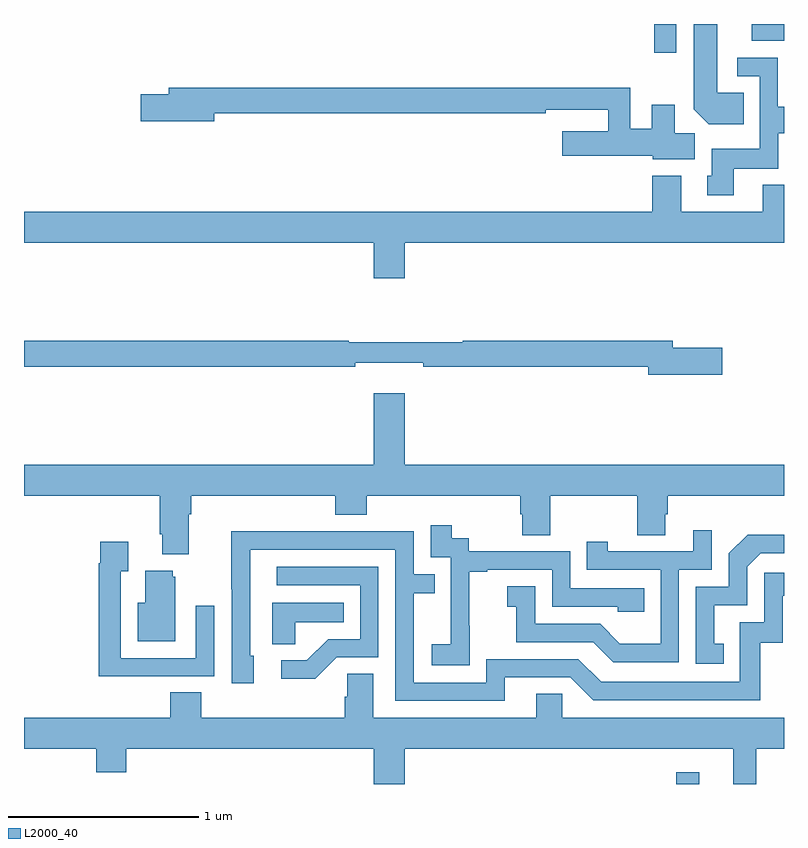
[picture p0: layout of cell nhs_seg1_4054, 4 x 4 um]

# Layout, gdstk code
import gdstk
lib = gdstk.Library(unit=1e-6, precision=1e-09)
def R(c, l, rs):  # rectangles x0, y0, x1, y1
    for r in rs: c.add(gdstk.rectangle(r[:2], r[2:], *l))
def P(c, l, *ps):  # polygons
    for p in ps: c.add(gdstk.Polygon(p, *l))
L2000_40 = (2000, 40)

nhs_seg1_4054 = lib.new_cell('nhs_seg1_4054')
R(nhs_seg1_4054, L2000_40, [(334.434,566.199,334.555,566.26), (334.318,570.048,334.434,570.199), (334.83,570.11,335,570.199)])
P(nhs_seg1_4054, L2000_40, [(334.787,569.836),(334.648,569.836),(334.648,570.199),(334.526,570.199),(334.526,569.75),(334.604,569.672),(334.787,569.672)],
  [(334.735,569.438),(334.971,569.438),(334.971,569.624),(335,569.624),(335,569.764),(334.968,569.764),(334.968,570.021),(334.755,570.021),(334.755,569.925),(334.872,569.925),(334.872,569.542),(334.619,569.542),(334.619,569.4),(334.595,569.4),(334.595,569.298),(334.735,569.298)],
  [(334.531,569.624),(334.426,569.624),(334.426,569.773),(334.304,569.773),(334.304,569.648),(334.191,569.648),(334.191,569.864),(331.763,569.864),(331.763,569.828),(331.614,569.828),(331.614,569.686),(332.002,569.686),(332.002,569.728),(333.746,569.728),(333.746,569.748),(334.075,569.748),(334.075,569.635),(333.834,569.635),(333.834,569.506),(334.308,569.506),(334.308,569.486),(334.531,569.486)],
  [(333.004,569.048),(335,569.048),(335,569.353),(334.889,569.353),(334.889,569.212),(334.459,569.212),(334.459,569.401),(334.307,569.401),(334.307,569.212),(331,569.212),(331,569.048),(332.84,569.048),(332.84,568.86),(333.004,568.86)],
  [(334.675,568.496),(334.414,568.496),(334.414,568.532),(333.31,568.532),(333.31,568.525),(332.71,568.525),(332.71,568.532),(331,568.532),(331,568.396),(332.744,568.396),(332.744,568.415),(333.1,568.415),(333.1,568.396),(334.286,568.396),(334.286,568.354),(334.675,568.354)],
  [(331.867,567.62),(331.88,567.62),(331.88,567.716),(332.639,567.716),(332.639,567.617),(332.804,567.617),(332.804,567.716),(333.611,567.716),(333.611,567.618),(333.623,567.618),(333.623,567.508),(333.771,567.508),(333.771,567.716),(334.228,567.716),(334.228,567.508),(334.375,567.508),(334.375,567.618),(334.388,567.618),(334.388,567.716),(335,567.716),(335,567.88),(333.004,567.88),(333.004,568.255),(332.84,568.255),(332.84,567.88),(331,567.88),(331,567.716),(331.715,567.716),(331.715,567.514),(331.727,567.514),(331.727,567.407),(331.867,567.407)],
  [(333.345,567.031),(333.344,567.031),(333.344,567.315),(333.439,567.315),(333.439,567.327),(333.78,567.327),(333.78,567.132),(334.125,567.132),(334.125,567.105),(334.265,567.105),(334.265,567.228),(333.876,567.228),(333.876,567.423),(333.342,567.423),(333.342,567.492),(333.25,567.492),(333.25,567.562),(333.141,567.562),(333.141,567.393),(333.246,567.393),(333.246,567.164),(333.245,567.164),(333.245,566.935),(333.147,566.935),(333.147,566.825),(333.345,566.825)],
  [(334.446,567.327),(334.62,567.327),(334.62,567.535),(334.523,567.535),(334.523,567.423),(334.072,567.423),(334.072,567.475),(333.961,567.475),(333.961,567.327),(334.35,567.327),(334.35,566.938),(334.136,566.938),(334.032,567.042),(333.69,567.042),(333.69,567.241),(333.543,567.241),(333.543,567.131),(333.592,567.131),(333.592,566.946),(333.995,566.946),(334.1,566.841),(334.446,566.841)],
  [(333.529,566.76),(333.876,566.76),(333.996,566.64),(334.876,566.64),(334.876,566.943),(334.994,566.943),(334.994,567.189),(335,567.189),(335,567.31),(334.896,567.31),(334.896,567.051),(334.767,567.051),(334.767,566.736),(334.038,566.736),(333.918,566.856),(333.432,566.856),(333.432,566.733),(333.051,566.733),(333.051,567.202),(333.161,567.202),(333.161,567.303),(333.051,567.303),(333.051,567.528),(332.555,567.528),(332.555,567.53),(332.092,567.53),(332.092,567.223),(332.094,567.223),(332.094,566.73),(332.209,566.73),(332.209,566.874),(332.19,566.874),(332.19,567.432),(332.955,567.432),(332.955,566.637),(333.529,566.637)],
  [(334.682,566.937),(334.633,566.937),(334.633,567.141),(334.806,567.141),(334.806,567.342),(334.878,567.414),(335,567.414),(335,567.512),(334.808,567.512),(334.71,567.414),(334.71,567.237),(334.536,567.237),(334.536,566.832),(334.682,566.832)],
  [(331.685,566.766),(332.001,566.766),(332.001,567.136),(331.905,567.136),(331.905,566.862),(331.509,566.862),(331.509,567.319),(331.549,567.319),(331.549,567.475),(331.401,567.475),(331.401,567.362),(331.393,567.362),(331.393,566.765),(331.685,566.765)],
  [(332.646,566.865),(332.865,566.865),(332.865,567.342),(332.331,567.342),(332.331,567.246),(332.769,567.246),(332.769,566.961),(332.6,566.961),(332.489,566.85),(332.355,566.85),(332.355,566.753),(332.533,566.753)],
  [(331.795,567.291),(331.784,567.291),(331.784,567.322),(331.637,567.322),(331.637,567.154),(331.598,567.154),(331.598,566.951),(331.795,566.951)],
  [(332.427,567.05),(332.684,567.05),(332.684,567.154),(332.306,567.154),(332.306,566.935),(332.427,566.935)],
  [(333.004,566.384),(334.733,566.384),(334.733,566.199),(334.855,566.199),(334.855,566.384),(335,566.384),(335,566.548),(333.834,566.548),(333.834,566.675),(333.695,566.675),(333.695,566.548),(332.839,566.548),(332.839,566.78),(332.7,566.78),(332.7,566.657),(332.687,566.657),(332.687,566.548),(331.934,566.548),(331.934,566.681),(331.769,566.681),(331.769,566.548),(331,566.548),(331,566.384),(331.381,566.384),(331.381,566.26),(331.538,566.26),(331.538,566.384),(332.84,566.384),(332.84,566.199),(333.004,566.199)])

lib.write_gds('nhs_seg1_4054.gds')
